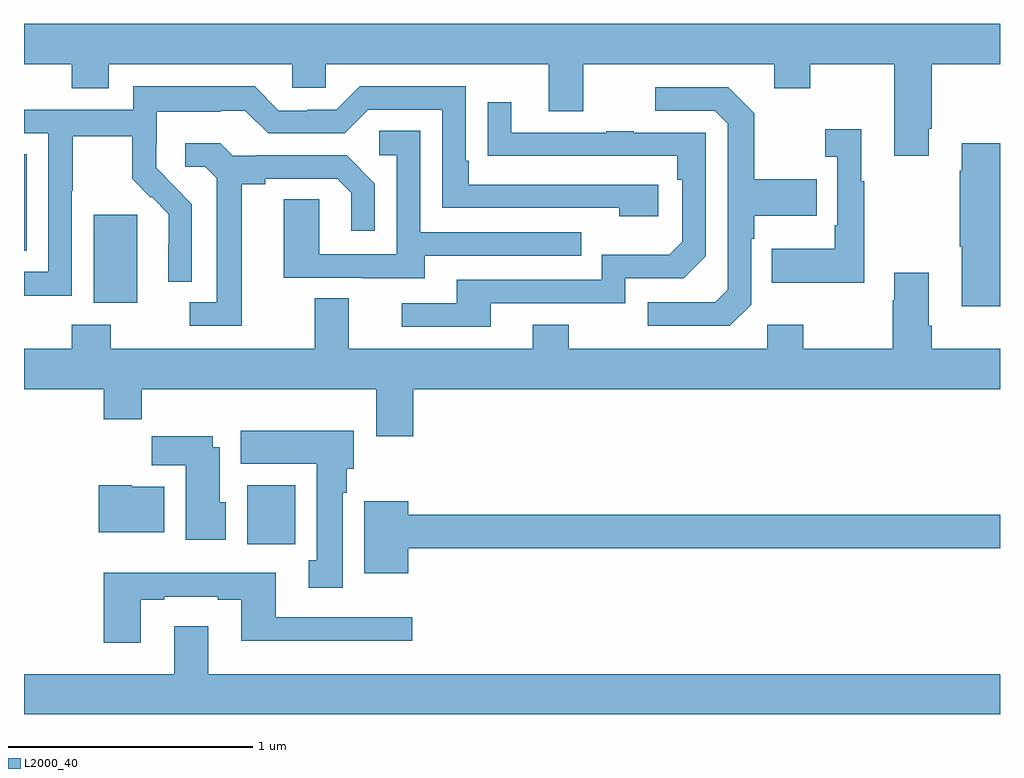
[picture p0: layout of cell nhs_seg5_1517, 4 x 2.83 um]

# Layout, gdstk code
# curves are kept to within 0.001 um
import gdstk
lib = gdstk.Library(unit=1e-6, precision=1e-09)
def R(c, l, rs):  # rectangles x0, y0, x1, y1
    for r in rs: c.add(gdstk.rectangle(r[:2], r[2:], *l))
def P(c, l, *ps):  # polygons
    for p in ps: c.add(gdstk.Polygon(p, *l))
L2000_40 = (2000, 40)

nhs_seg5_1517 = lib.new_cell('nhs_seg5_1517')
R(nhs_seg5_1517, L2000_40, [(203.915,856.124,204.112,856.366), (203.285,857.114,203.464,857.475), (203,857.326,203.011,857.723)])
P(nhs_seg5_1517, L2000_40, [(206.707,857.827),(206.72,857.827),(206.72,858.092),(207,858.092),(207,858.256),(203,858.256),(203,858.092),(203.195,858.092),(203.195,857.993),(203.347,857.993),(203.347,858.092),(204.099,858.092),(204.099,857.994),(204.237,857.994),(204.237,858.092),(205.151,858.092),(205.151,857.898),(205.291,857.898),(205.291,858.092),(206.075,858.092),(206.075,857.993),(206.223,857.993),(206.223,858.092),(206.567,858.092),(206.567,857.715),(206.707,857.715)],
  [(203.196,857.572),(203.199,857.572),(203.199,857.796),(203.443,857.796),(203.443,857.621),(203.52,857.544),(203.523,857.547),(203.594,857.477),(203.594,857.354),(203.592,857.354),(203.592,857.2),(203.688,857.2),(203.688,857.518),(203.542,857.666),(203.542,857.763),(203.544,857.763),(203.544,857.897),(203.807,857.897),(203.807,857.901),(203.907,857.901),(204,857.808),(204.315,857.808),(204.411,857.904),(204.714,857.904),(204.714,857.502),(205.439,857.502),(205.439,857.468),(205.6,857.468),(205.6,857.598),(204.823,857.598),(204.823,857.695),(204.81,857.695),(204.81,858),(204.375,858),(204.279,857.904),(204.161,857.904),(204.161,857.901),(204.045,857.901),(203.945,858.001),(203.448,858.001),(203.448,857.904),(203,857.904),(203,857.808),(203.1,857.808),(203.1,857.241),(203,857.241),(203,857.143),(203.196,857.143)],
  [(205.98,857.106),(205.98,857.375),(205.993,857.375),(205.993,857.471),(206.249,857.471),(206.249,857.619),(205.993,857.619),(205.993,857.891),(205.887,857.997),(205.587,857.997),(205.587,857.901),(205.83,857.901),(205.884,857.847),(205.884,857.166),(205.833,857.115),(205.557,857.115),(205.557,857.019),(205.893,857.019)],
  [(204.913,857.112),(205.464,857.112),(205.464,857.214),(205.704,857.214),(205.794,857.304),(205.794,857.811),(205.499,857.811),(205.499,857.816),(205.387,857.816),(205.387,857.811),(204.997,857.811),(204.997,857.935),(204.901,857.935),(204.901,857.716),(205.678,857.715),(205.678,857.618),(205.698,857.618),(205.698,857.364),(205.645,857.311),(205.368,857.311),(205.368,857.208),(204.773,857.208),(204.773,857.112),(204.549,857.112),(204.549,857.016),(204.913,857.016)],
  [(206.443,857.611),(206.431,857.611),(206.431,857.824),(206.283,857.824),(206.283,857.711),(206.334,857.711),(206.334,857.431),(206.322,857.431),(206.322,857.335),(206.065,857.335),(206.065,857.195),(206.443,857.195)],
  [(204.643,857.307),(205.283,857.307),(205.283,857.403),(204.624,857.403),(204.624,857.819),(204.456,857.819),(204.456,857.718),(204.528,857.718),(204.528,857.313),(204.21,857.313),(204.21,857.537),(204.065,857.537),(204.065,857.217),(204.389,857.217),(204.389,857.213),(204.643,857.213)],
  [(207,857.767),(206.843,857.767),(206.843,857.654),(206.836,857.654),(206.836,857.343),(206.843,857.343),(206.843,857.1),(207,857.1)],
  [(203.893,857.6),(203.989,857.6),(203.989,857.622),(204.284,857.622),(204.341,857.565),(204.341,857.409),(204.438,857.409),(204.438,857.602),(204.322,857.718),(203.95,857.718),(203.95,857.715),(203.856,857.715),(203.804,857.767),(203.661,857.767),(203.661,857.67),(203.742,857.67),(203.789,857.623),(203.789,857.115),(203.679,857.115),(203.679,857.019),(203.893,857.019)],
  [(204.191,857.132),(204.191,856.924),(203.355,856.924),(203.355,857.023),(203.195,857.023),(203.195,856.924),(203,856.924),(203,856.76),(203.327,856.76),(203.327,856.636),(203.483,856.636),(203.483,856.76),(204.443,856.76),(204.443,856.566),(204.596,856.566),(204.596,856.76),(207,856.76),(207,856.924),(206.72,856.924),(206.72,857.02),(206.707,857.02),(206.707,857.236),(206.567,857.236),(206.567,857.123),(206.56,857.123),(206.56,856.924),(206.193,856.924),(206.193,857.023),(206.046,857.023),(206.046,856.924),(205.233,856.924),(205.233,857.023),(205.085,857.023),(205.085,856.924),(204.331,856.924),(204.331,857.132)],
  [(204.307,856.334),(204.322,856.334),(204.322,856.434),(204.352,856.434),(204.352,856.588),(203.888,856.588),(203.888,856.454),(204.2,856.454),(204.2,856.058),(204.167,856.058),(204.167,855.945),(204.307,855.945)],
  [(203.827,856.296),(203.803,856.296),(203.803,856.522),(203.773,856.522),(203.773,856.567),(203.524,856.567),(203.524,856.448),(203.663,856.448),(203.663,856.142),(203.827,856.142)],
  [(203.575,856.36),(203.442,856.36),(203.442,856.366),(203.306,856.366),(203.306,856.172),(203.575,856.172)],
  [(204.574,856.108),(207,856.108),(207,856.244),(204.574,856.244),(204.574,856.3),(204.395,856.3),(204.395,856.004),(204.574,856.004)],
  [(203.479,855.897),(203.575,855.897),(203.575,855.909),(203.795,855.909),(203.795,855.897),(203.891,855.897),(203.891,855.728),(204.592,855.728),(204.592,855.825),(204.031,855.825),(204.031,856.006),(203.327,856.006),(203.327,855.72),(203.479,855.72)],
  [(207,855.592),(203.755,855.592),(203.755,855.787),(203.615,855.787),(203.615,855.592),(203,855.592),(203,855.428),(207,855.428)])

lib.write_gds('nhs_seg5_1517.gds')
